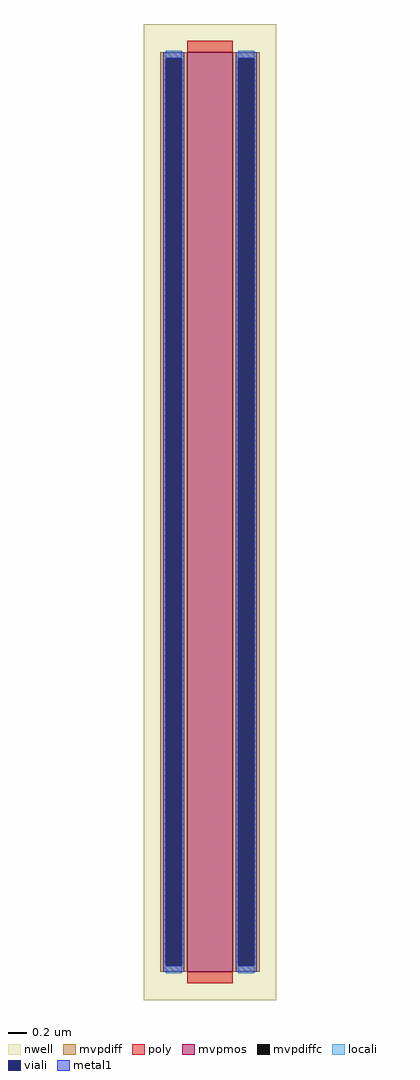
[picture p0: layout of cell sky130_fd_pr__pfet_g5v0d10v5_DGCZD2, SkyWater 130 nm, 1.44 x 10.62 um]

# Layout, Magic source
magic
tech sky130A
<< nwell >>
rect -72 -531 72 531
<< mvpmos >>
rect -25 -500 25 500
<< mvpdiff >>
rect -54 494 -25 500
rect -54 -494 -48 494
rect -31 -494 -25 494
rect -54 -500 -25 -494
rect 25 494 54 500
rect 25 -494 31 494
rect 48 -494 54 494
rect 25 -500 54 -494
<< mvpdiffc >>
rect -48 -494 -31 494
rect 31 -494 48 494
<< poly >>
rect -25 500 25 513
rect -25 -513 25 -500
<< locali >>
rect -48 494 -31 502
rect -48 -502 -31 -494
rect 31 494 48 502
rect 31 -502 48 -494
<< viali >>
rect -48 -494 -31 494
rect 31 -494 48 494
<< metal1 >>
rect -51 494 -28 500
rect -51 -494 -48 494
rect -31 -494 -28 494
rect -51 -500 -28 -494
rect 28 494 51 500
rect 28 -494 31 494
rect 48 -494 51 494
rect 28 -500 51 -494
<< properties >>
string gencell sky130_fd_pr__pfet_g5v0d10v5
string library sky130
string parameters w 10 l 0.50 m 1 nf 1 diffcov 100 polycov 100 guard 0 glc 1 grc 1 gtc 1 gbc 1 tbcov 100 rlcov 100 topc 0 botc 0 poverlap 0 doverlap 1 lmin 0.50 wmin 0.42 compatible {sky130_fd_pr__pfet_01v8  sky130_fd_pr__pfet_01v8_lvt sky130_fd_pr__pfet_01v8_hvt  sky130_fd_pr__pfet_g5v0d10v5} full_metal 1 viasrc 100 viadrn 100 viagate 100 viagb 0 viagr 0 viagl 0 viagt 0
<< end >>
